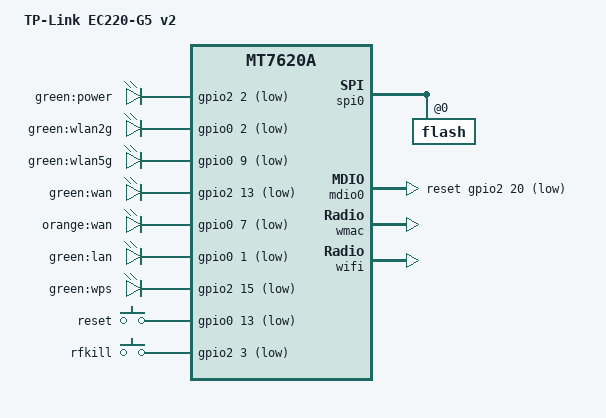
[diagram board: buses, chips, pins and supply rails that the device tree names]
// SPDX-License-Identifier: GPL-2.0-or-later OR MIT

#include "mt7620a_tplink_archer.dtsi"

/ {
	compatible = "tplink,ec220-g5-v2", "ralink,mt7620a-soc";
	model = "TP-Link EC220-G5 v2";

	aliases {
		led-boot = &led_power;
		led-failsafe = &led_power;
		led-running = &led_power;
		led-upgrade = &led_power;
		label-mac-device = &ethernet;
	};

	leds {
		compatible = "gpio-leds";

		led_power: power {
			label = "green:power";
			gpios = <&gpio2 2 GPIO_ACTIVE_LOW>;
		};

		wlan2g {
			label = "green:wlan2g";
			gpios = <&gpio0 2 GPIO_ACTIVE_LOW>;
			linux,default-trigger = "phy1tpt";
		};

		wlan5g {
			label = "green:wlan5g";
			gpios = <&gpio0 9 GPIO_ACTIVE_LOW>;
			linux,default-trigger = "phy0tpt";
		};

		wan {
			label = "green:wan";
			gpios = <&gpio2 13 GPIO_ACTIVE_LOW>;
		};

		wan_orange {
			label = "orange:wan";
			gpios = <&gpio0 7 GPIO_ACTIVE_LOW>;
		};

		lan {
			label = "green:lan";
			gpios = <&gpio0 1 GPIO_ACTIVE_LOW>;
		};

		wps {
			label = "green:wps";
			gpios = <&gpio2 15 GPIO_ACTIVE_LOW>;
		};
	};

	keys {
		compatible = "gpio-keys";

		reset {
			label = "reset";
			gpios = <&gpio0 13 GPIO_ACTIVE_LOW>;
			linux,code = <KEY_RESTART>;
		};

		rfkill {
			label = "rfkill";
			gpios = <&gpio2 3 GPIO_ACTIVE_LOW>;
			linux,code = <KEY_RFKILL>;
		};
	};

	rtl8367s {
		compatible = "realtek,rtl8367b";
		realtek,extif = <7 1 0 1 1 1 1 1 1 2>;
		mii-bus = <&mdio0>;
		phy-id = <29>;
	};
};

&spi0 {
	flash@0 {
		#address-cells = <1>;
		#size-cells = <1>;
	};
};

&state_default {
	gpio {
		groups = "i2c", "uartf", "ephy", "rgmii2";
		function = "gpio";
	};
};

&ethernet {
	pinctrl-names = "default";
	pinctrl-0 = <&rgmii1_pins &mdio_pins>;

	nvmem-cells = <&macaddr_rom_f100>;
	nvmem-cell-names = "mac-address";

	port@5 {
		status = "okay";
		mediatek,fixed-link = <1000 1 1 1>;
		phy-mode = "rgmii";
	};

	mdio0: mdio-bus {
		status = "okay";
		reset-gpios = <&gpio2 20 GPIO_ACTIVE_LOW>;
		reset-delay-us = <10000>;
	};
};

&ehci {
	status = "disabled";
};

&ohci {
	status = "disabled";
};

&wmac {
	pinctrl-names = "default", "pa_gpio";
	pinctrl-0 = <&pa_pins>;
	pinctrl-1 = <&pa_gpio_pins>;

	nvmem-cells = <&macaddr_rom_f100>;
	nvmem-cell-names = "mac-address";
};

&wifi {
	nvmem-cells = <&macaddr_rom_f100>;
	nvmem-cell-names = "mac-address";
	mac-address-increment = <2>;
};
